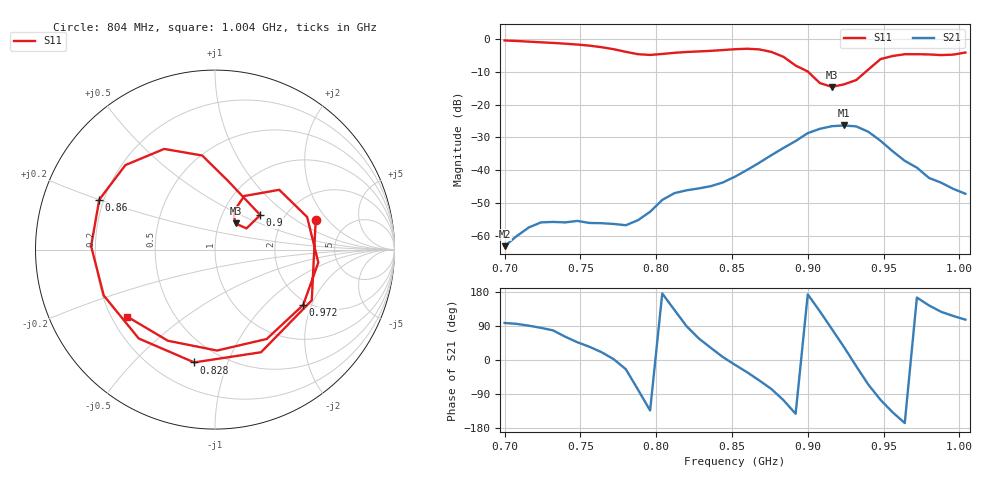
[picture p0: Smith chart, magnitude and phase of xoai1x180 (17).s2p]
# Hz S RI R 50
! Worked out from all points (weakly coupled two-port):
!   39 points, 700 MHz to 1.004 GHz, reference 50 ohm
!   highest |S21| = -26.37 dB at 924 MHz (marker M1); lowest = -63.0 dB at 700 MHz (marker M2)
!   lowest |S11| = -14.6 dB at 916 MHz (marker M3), VSWR 1.45, Z = 59.9 + j18.1 ohm
!   |S11| at or under -10 dB: 900.1 MHz to 938.4 MHz (38.37 MHz wide, 4.17 % of centre)
!   S12 and S22 are empty: the file has one direction only
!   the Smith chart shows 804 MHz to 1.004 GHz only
!   S11 on the Smith chart (normalised r, x): 804 MHz: 2.99, +1.50; 828 MHz: 0.36, -0.77; 860 MHz: 0.18, +0.20; 900 MHz: 1.51, +0.65; 972 MHz: 1.87, -1.74; 1.004 GHz: 0.26, -0.32
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7e8  0.7588 0.5513  -9.54e-05 0.000701  0 0  0 0
7.24e8  0.8436 -0.2479  0.000146 0.00162  0 0  0 0
7.4e8  0.4591 -0.701  0.000777 0.00143  0 0  0 0
7.56e8  -0.1911 -0.7588  0.00131 0.00091  0 0  0 0
7.72e8  -0.6603 -0.2028  0.00154 5.48e-05  0 0  0 0
7.8e8  -0.5899 0.223  0.00134 -0.000608  0 0  0 0
7.88e8  -0.2432 0.5268  0.000357 -0.00172  0 0  0 0
7.96e8  0.2413 0.5112  -0.00161 -0.00172  0 0  0 0
8.04e8  0.5611 0.1655  -0.00355 0.000269  0 0  0 0
8.2e8  0.2566 -0.5719  5.51e-05 0.00498  0 0  0 0
8.28e8  -0.1159 -0.6285  0.00287 0.00448  0 0  0 0
8.52e8  -0.6903 0.0196  0.00783 -0.00176  0 0  0 0
8.6e8  -0.6447 0.2785  0.00859 -0.00544  0 0  0 0
8.76e8  -0.2832 0.5609  0.00396 -0.0165  0 0  0 0
9e8  0.2522 0.1925  -0.0365 0.00429  0 0  0 0
9.08e8  0.1753 0.118  -0.0265 0.0335  0 0  0 0
9.16e8  0.1143 0.1457  0.00718 0.0463  0 0  0 0
9.24e8  0.1087 0.1709  0.04 0.0266  0 0  0 0
9.56e8  0.5132 0.1817  -0.0145 -0.0131  0 0  0 0
9.72e8  0.4913 -0.3085  -0.0106 0.00288  0 0  0 0
9.88e8  0.0115 -0.5625  -0.00394 0.00519  0 0  0 0
1.004e9  -0.4894 -0.3733  -0.00125 0.00423  0 0  0 0
